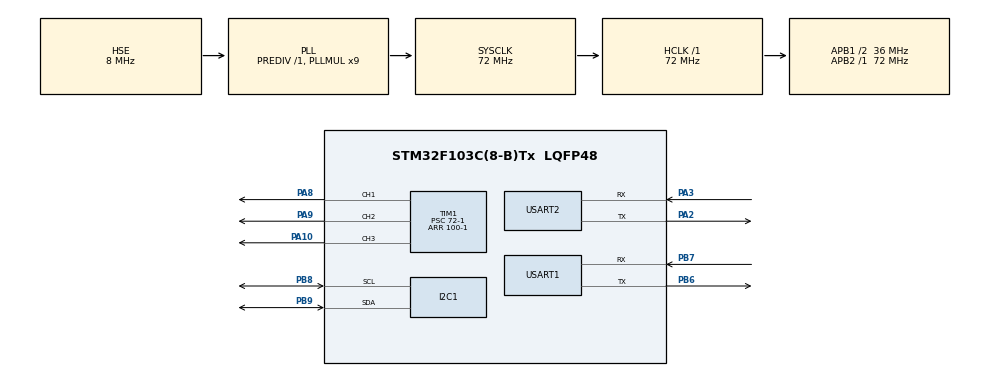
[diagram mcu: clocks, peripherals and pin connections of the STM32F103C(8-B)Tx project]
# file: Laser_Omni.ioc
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Dma.Request0=USART1_RX
Dma.Request1=USART1_TX
Dma.USART1_RX.0.Direction=DMA_PERIPH_TO_MEMORY
Dma.USART1_RX.0.Instance=DMA1_Channel5
Dma.USART1_RX.0.MemDataAlignment=DMA_MDATAALIGN_BYTE
Dma.USART1_RX.0.MemInc=DMA_MINC_ENABLE
Dma.USART1_RX.0.Mode=DMA_NORMAL
Dma.USART1_RX.0.PeriphDataAlignment=DMA_PDATAALIGN_BYTE
Dma.USART1_RX.0.PeriphInc=DMA_PINC_DISABLE
Dma.USART1_RX.0.Priority=DMA_PRIORITY_LOW
Dma.USART1_TX.1.Direction=DMA_MEMORY_TO_PERIPH
Dma.USART1_TX.1.Instance=DMA1_Channel4
Dma.USART1_TX.1.MemDataAlignment=DMA_MDATAALIGN_BYTE
Dma.USART1_TX.1.MemInc=DMA_MINC_ENABLE
Dma.USART1_TX.1.Mode=DMA_NORMAL
Dma.USART1_TX.1.PeriphDataAlignment=DMA_PDATAALIGN_BYTE
Dma.USART1_TX.1.PeriphInc=DMA_PINC_DISABLE
Dma.USART1_TX.1.Priority=DMA_PRIORITY_LOW
Mcu.Family=STM32F1
Mcu.Name=STM32F103C(8-B)Tx
Mcu.Package=LQFP48
NVIC.DMA1_Channel4_IRQn=true\:0\:0\:false\:false\:true\:false\:true\:true
NVIC.DMA1_Channel5_IRQn=true\:0\:0\:false\:false\:true\:false\:true\:true
NVIC.PriorityGroup=NVIC_PRIORITYGROUP_4
NVIC.USART1_IRQn=true\:0\:0\:false\:false\:true\:true\:true\:true
PA10.Signal=S_TIM1_CH3
PA13.Mode=Serial_Wire
PA13.Signal=SYS_JTMS-SWDIO
PA14.Mode=Serial_Wire
PA14.Signal=SYS_JTCK-SWCLK
PA2.Mode=Asynchronous
PA2.Signal=USART2_TX
PA3.Mode=Asynchronous
PA3.Signal=USART2_RX
PA8.Signal=S_TIM1_CH1
PA9.Signal=S_TIM1_CH2
PB6.Mode=Asynchronous
PB6.Signal=USART1_TX
PB7.Mode=Asynchronous
PB7.Signal=USART1_RX
PB8.Mode=I2C
PB8.Signal=I2C1_SCL
PB9.Mode=I2C
PB9.Signal=I2C1_SDA
PD0-OSC_IN.Mode=HSE-External-Oscillator
PD0-OSC_IN.Signal=RCC_OSC_IN
PD1-OSC_OUT.Mode=HSE-External-Oscillator
PD1-OSC_OUT.Signal=RCC_OSC_OUT
ProjectManager.HeapSize=0x200
ProjectManager.StackSize=0x400
ProjectManager.TargetToolchain=STM32CubeIDE
RCC.AHBFreq_Value=72000000
RCC.APB1CLKDivider=RCC_HCLK_DIV2
RCC.APB1Freq_Value=36000000
RCC.APB1TimFreq_Value=72000000
RCC.APB2Freq_Value=72000000
RCC.APB2TimFreq_Value=72000000
RCC.HCLKFreq_Value=72000000
RCC.PLLMUL=RCC_PLL_MUL9
RCC.PLLSourceVirtual=RCC_PLLSOURCE_HSE
RCC.SYSCLKFreq_VALUE=72000000
RCC.SYSCLKSource=RCC_SYSCLKSOURCE_PLLCLK
RCC.USBFreq_Value=72000000
SH.S_TIM1_CH1.0=TIM1_CH1,PWM Generation1 CH1
SH.S_TIM1_CH2.0=TIM1_CH2,PWM Generation2 CH2
SH.S_TIM1_CH3.0=TIM1_CH3,PWM Generation3 CH3
TIM1.Channel-PWM\ Generation1\ CH1=TIM_CHANNEL_1
TIM1.Channel-PWM\ Generation2\ CH2=TIM_CHANNEL_2
TIM1.Channel-PWM\ Generation3\ CH3=TIM_CHANNEL_3
TIM1.Period=100-1
TIM1.Prescaler=72-1
USART1.VirtualMode=VM_ASYNC
USART2.VirtualMode=VM_ASYNC
VP_TIM1_VS_ClockSourceINT.Mode=Internal
board=custom

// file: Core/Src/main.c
/* USER CODE BEGIN Header */
/**
  ******************************************************************************
  * @file           : main.c
  * @brief          : Main program body
  ******************************************************************************
  * @attention
  *
  * Copyright (c) 2025 STMicroelectronics.
  * All rights reserved.
  *
  * This software is licensed under terms that can be found in the LICENSE file
  * in the root directory of this software component.
  * If no LICENSE file comes with this software, it is provided AS-IS.
  *
  ******************************************************************************
  */
/* USER CODE END Header */
#include "main.h"
#include "dma.h"
#include "i2c.h"
#include "tim.h"
#include "usart.h"
#include "gpio.h"

/* USER CODE BEGIN Includes */
#include "as5600.h"
#include "dengfoc.h"
#include <math.h>
/* USER CODE END Includes */

/* USER CODE BEGIN PD */
#define MAX_STR_LEN 32
/* USER CODE END PD */

/* USER CODE BEGIN PV */
int Sensor_DIR = -1;    //传感器方向
int Motor_PP = 7;       //电机极对数
uint8_t recv_data[256] = {0};
int motor_target = 0;
float target = 0.0;
char msg[50];
/* USER CODE END PV */

void SystemClock_Config(void);

/* USER CODE BEGIN 0 */
void HAL_UARTEx_RxEventCallback(UART_HandleTypeDef *huart, uint16_t Size)
{
    if (huart->Instance == USART1)
    {
        recv_data[Size] = '\0'; // 添加终止符
        motor_target = atoi((char*)recv_data);
        // 使用DMA将接收到的数据发送回去
//        HAL_UART_Transmit_DMA(&huart1, recv_data, Size);
        sprintf(msg, "motor_target is %d\r\n", motor_target);
        HAL_UART_Transmit_DMA(&huart1, (uint8_t *)msg, strlen(msg));
        // 重新启动接收，使用Ex函数，接收不定长数据
        HAL_UARTEx_ReceiveToIdle_DMA(&huart1, recv_data, sizeof(recv_data));
        // 关闭DMA传输过半中断（HAL库默认开启，但我们只需要接收完成中断）
        __HAL_DMA_DISABLE_IT(huart1.hdmarx, DMA_IT_HT);
    }
}

//float serial_motor_target()
//{
//    target = (float) motor_target * (PI / 180);
//    return target;
//}
int serial_motor_target()
{
    return motor_target;
}
/* USER CODE END 0 */

int main(void)
{

  /* MCU Configuration--------------------------------------------------------*/

  /* Reset of all peripherals, Initializes the Flash interface and the Systick. */
  HAL_Init();

  /* Configure the system clock */
  SystemClock_Config();

  /* Initialize all configured peripherals */
  MX_GPIO_Init();
  MX_DMA_Init();
  MX_I2C1_Init();
  MX_USART1_UART_Init();
  MX_USART2_UART_Init();
  MX_TIM1_Init();
  /* USER CODE BEGIN 2 */
    DFOC_Vbus(12.6);
    DFOC_alignSensor(Motor_PP, Sensor_DIR);
    HAL_TIM_PWM_Start(&htim1, TIM_CHANNEL_1);
    HAL_TIM_PWM_Start(&htim1, TIM_CHANNEL_2);
    HAL_TIM_PWM_Start(&htim1, TIM_CHANNEL_3);
    // 使用Ex函数，接收不定长数据
    HAL_UARTEx_ReceiveToIdle_DMA(&huart1, recv_data, sizeof(recv_data));
    // 关闭DMA传输过半中断（HAL库默认开启，但我们只需要接收完成中断）
    __HAL_DMA_DISABLE_IT(huart1.hdmarx, DMA_IT_HT);
  /* USER CODE END 2 */

  /* Infinite loop */
  /* USER CODE BEGIN WHILE */
  while (1)
  {
//      Programe_Run();
//      HAL_Delay(500);
      float Kp = 0.133;
      float Sensor_Angle = DFOC_M0_Angle();
//      set_torque(Kp * (serial_motor_target() - Sensor_DIR*Sensor_Angle) * 180/PI,get_electrical_angle());   //位置闭环
      set_torque(serial_motor_target(),get_electrical_angle());   //电压力矩
    /* USER CODE END WHILE */

  }
}

void SystemClock_Config(void)
{
  RCC_OscInitTypeDef RCC_OscInitStruct = {0};
  RCC_ClkInitTypeDef RCC_ClkInitStruct = {0};

  /** Initializes the RCC Oscillators according to the specified parameters
  * in the RCC_OscInitTypeDef structure.
  */
  RCC_OscInitStruct.OscillatorType = RCC_OSCILLATORTYPE_HSE;
  RCC_OscInitStruct.HSEState = RCC_HSE_ON;
  RCC_OscInitStruct.HSEPredivValue = RCC_HSE_PREDIV_DIV1;
  RCC_OscInitStruct.HSIState = RCC_HSI_ON;
  RCC_OscInitStruct.PLL.PLLState = RCC_PLL_ON;
  RCC_OscInitStruct.PLL.PLLSource = RCC_PLLSOURCE_HSE;
  RCC_OscInitStruct.PLL.PLLMUL = RCC_PLL_MUL9;
  if (HAL_RCC_OscConfig(&RCC_OscInitStruct) != HAL_OK)
  {
    Error_Handler();
  }

  /** Initializes the CPU, AHB and APB buses clocks
  */
  RCC_ClkInitStruct.ClockType = RCC_CLOCKTYPE_HCLK|RCC_CLOCKTYPE_SYSCLK
                              |RCC_CLOCKTYPE_PCLK1|RCC_CLOCKTYPE_PCLK2;
  RCC_ClkInitStruct.SYSCLKSource = RCC_SYSCLKSOURCE_PLLCLK;
  RCC_ClkInitStruct.AHBCLKDivider = RCC_SYSCLK_DIV1;
  RCC_ClkInitStruct.APB1CLKDivider = RCC_HCLK_DIV2;
  RCC_ClkInitStruct.APB2CLKDivider = RCC_HCLK_DIV1;

  if (HAL_RCC_ClockConfig(&RCC_ClkInitStruct, FLASH_LATENCY_2) != HAL_OK)
  {
    Error_Handler();
  }
}

void Error_Handler(void)
{
  __disable_irq();
  while (1)
  {
  }
}
